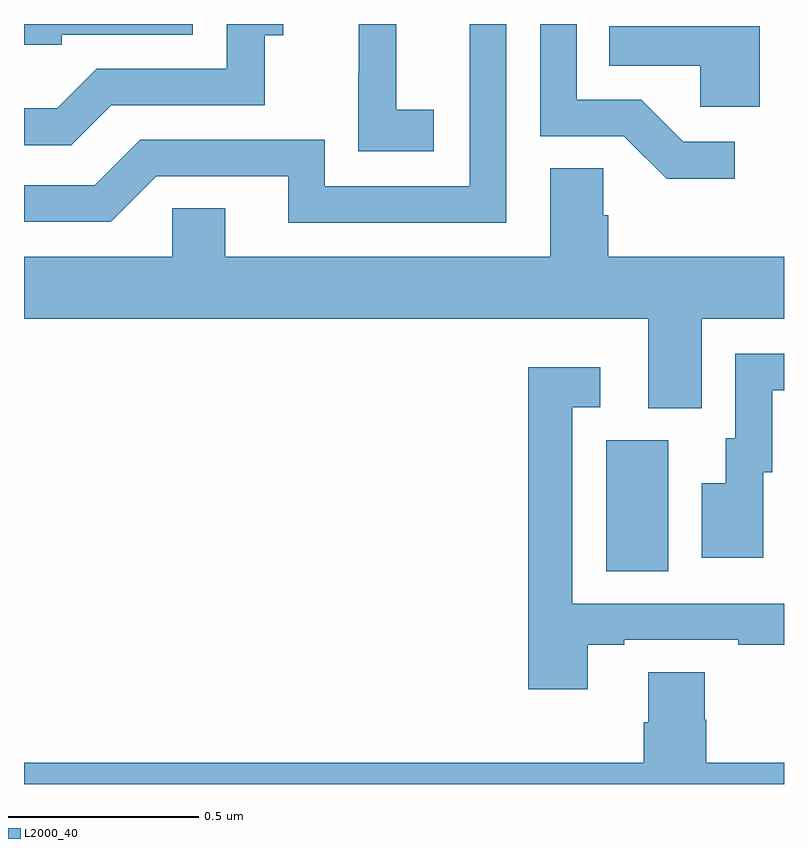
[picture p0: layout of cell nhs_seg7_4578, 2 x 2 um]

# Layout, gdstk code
import gdstk
lib = gdstk.Library(unit=1e-6, precision=1e-09)
def R(c, l, rs):  # rectangles x0, y0, x1, y1
    for r in rs: c.add(gdstk.rectangle(r[:2], r[2:], *l))
def P(c, l, *ps):  # polygons
    for p in ps: c.add(gdstk.Polygon(p, *l))
L2000_40 = (2000, 40)

nhs_seg7_4578 = lib.new_cell('nhs_seg7_4578')
R(nhs_seg7_4578, L2000_40, [(175.532,1058.56,175.696,1058.904)])
P(nhs_seg7_4578, L2000_40, [(175.269,1060),(175.173,1060),(175.173,1059.573),(174.792,1059.573),(174.792,1059.696),(174.306,1059.696),(174.186,1059.576),(174,1059.576),(174,1059.48),(174.228,1059.48),(174.348,1059.6),(174.695,1059.6),(174.695,1059.477),(175.269,1059.477)],
  [(175.87,1059.69),(175.735,1059.69),(175.624,1059.801),(175.455,1059.801),(175.455,1060),(175.359,1060),(175.359,1059.705),(175.578,1059.705),(175.691,1059.593),(175.87,1059.593)],
  [(174.099,1059.972),(174.444,1059.972),(174.444,1060),(174,1060),(174,1059.945),(174.099,1059.945)],
  [(175.078,1059.775),(174.98,1059.775),(174.98,1060),(174.881,1060),(174.881,1059.871),(174.88,1059.871),(174.88,1059.665),(175.078,1059.665)],
  [(174.229,1059.786),(174.633,1059.786),(174.633,1059.971),(174.682,1059.971),(174.682,1060),(174.534,1060),(174.534,1059.882),(174.192,1059.882),(174.088,1059.778),(174,1059.778),(174,1059.681),(174.124,1059.681)],
  [(175.936,1059.994),(175.54,1059.994),(175.54,1059.89),(175.779,1059.89),(175.779,1059.782),(175.936,1059.782)],
  [(175.783,1059.224),(176,1059.224),(176,1059.388),(175.538,1059.388),(175.538,1059.497),(175.524,1059.497),(175.524,1059.62),(175.385,1059.62),(175.385,1059.388),(174.529,1059.388),(174.529,1059.515),(174.39,1059.515),(174.39,1059.388),(174,1059.388),(174,1059.224),(175.643,1059.224),(175.643,1058.989),(175.783,1058.989)],
  [(175.945,1058.82),(175.969,1058.82),(175.969,1059.036),(176,1059.036),(176,1059.132),(175.872,1059.132),(175.872,1058.91),(175.847,1058.91),(175.847,1058.791),(175.784,1058.791),(175.784,1058.595),(175.945,1058.595)],
  [(175.483,1058.367),(175.579,1058.367),(175.579,1058.379),(175.879,1058.379),(175.879,1058.367),(176,1058.367),(176,1058.475),(175.443,1058.475),(175.443,1058.991),(175.516,1058.991),(175.516,1059.097),(175.327,1059.097),(175.327,1058.25),(175.483,1058.25)],
  [(176,1058.056),(175.796,1058.056),(175.796,1058.169),(175.791,1058.169),(175.791,1058.294),(175.643,1058.294),(175.643,1058.162),(175.631,1058.162),(175.631,1058.056),(174,1058.056),(174,1058),(176,1058)])

lib.write_gds('nhs_seg7_4578.gds')
